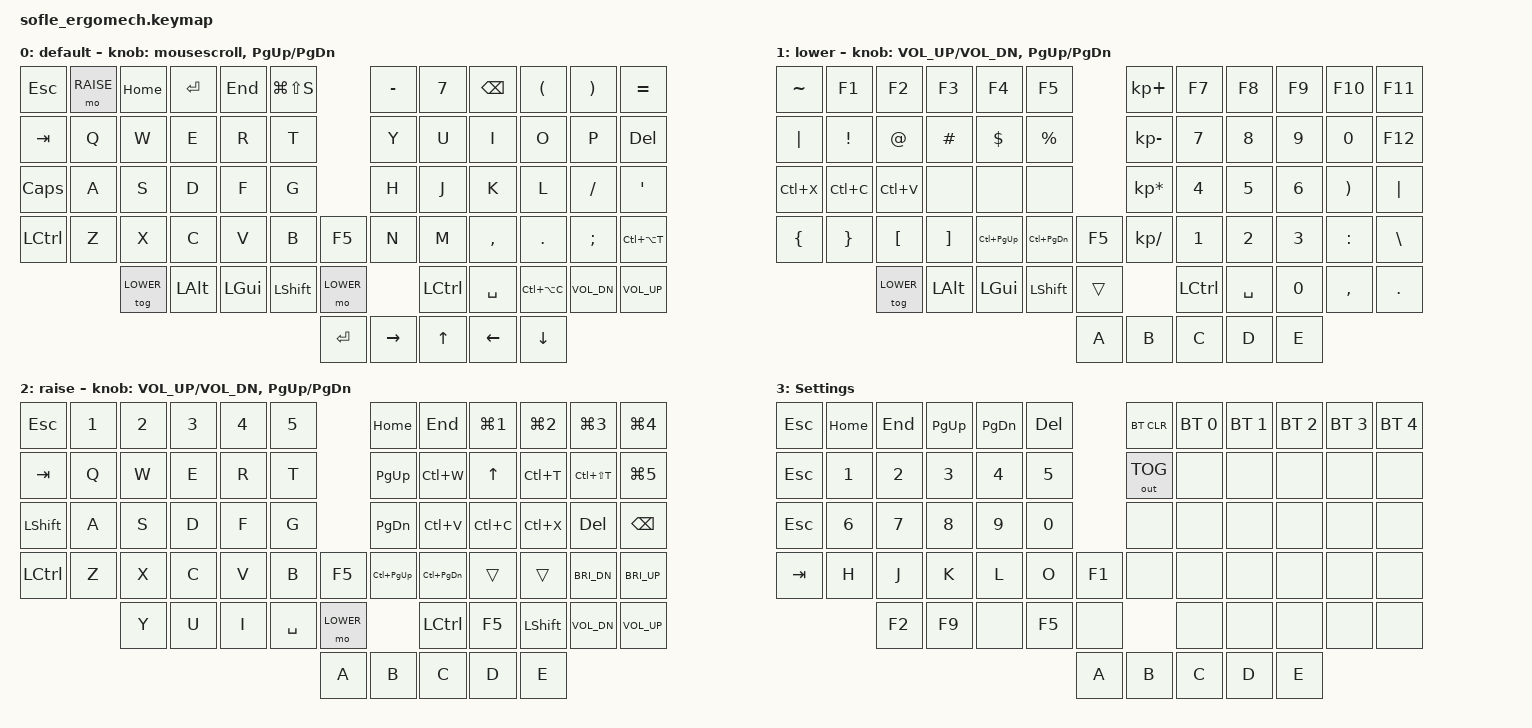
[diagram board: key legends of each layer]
/*
 * Copyright (c) 2020 The ZMK Contributors
 *
 * SPDX-License-Identifier: MIT
 */
#define ZMK_POINTING_DEFAULT_SCRL_VAL 300
#include <dt-bindings/zmk/pointing.h>
#include <behaviors.dtsi>
#include <dt-bindings/zmk/bt.h>
#include <dt-bindings/zmk/ext_power.h>
#include <dt-bindings/zmk/keys.h>
#include <dt-bindings/zmk/rgb.h>

#define BASE 0
#define LOWER 1
#define RAISE 2
#define ADJUST 3

/ {
    // Activate ADJUST layer by pressing raise and lower

    conditional_layers {
        compatible = "zmk,conditional-layers";

        adjust_layer {
            if-layers = <LOWER RAISE>;
            then-layer = <ADJUST>;
        };
    };	
	
	behaviors {
        mousescroll: mousescroll {
            compatible = "zmk,behavior-sensor-rotate";
            #sensor-binding-cells = <0>;
            bindings = <&msc SCRL_UP>, <&msc SCRL_DOWN>;
			tap-ms = <20>;
        };
    };

    keymap {
        compatible = "zmk,keymap";

        default_layer {
            label = "default";

            // ------------------------------------------------------------------------------------------------------------
            // |   `   |  1  |  2  |  3   |  4   |  5   |                   |  6   |  7    |  8    |  9   |   0   |       |
            // |  ESC  |  Q  |  W  |  E   |  R   |  T   |                   |  Y   |  U    |  I    |  O   |   P   | BKSPC |
            // |  TAB  |  A  |  S  |  D   |  F   |  G   |                   |  H   |  J    |  K    |  L   |   ;   |   '   |
            // | SHIFT |  Z  |  X  |  C   |  V   |  B   |  MUTE  |  |       |  N   |  M    |  ,    |  .   |   /   | SHIFT |
            //               | GUI | ALT  | CTRL | LOWER|  ENTER |  | SPACE | RAISE| CTRL  | ALT   | GUI  |

            bindings = <
&kp ESC   &mo RAISE &kp HOME &kp RET  &kp END   &kp LG(LS(S))               &kp MINUS &kp N7    &kp BSPC  &kp LPAR &kp RPAR   &kp EQUAL
&kp TAB   &kp Q     &kp W    &kp E    &kp R     &kp T                       &kp Y     &kp U     &kp I     &kp O    &kp P      &kp DEL
&kp CAPS  &kp A     &kp S    &kp D    &kp F     &kp G                       &kp H     &kp J     &kp K     &kp L    &kp FSLH   &kp SQT
&kp LCTRL &kp Z     &kp X    &kp C    &kp V     &kp B      &kp F5           &kp N     &kp M     &kp COMMA &kp DOT  &kp SEMI   &kp LC(LA(T))
                 &tog LOWER &kp LALT &kp LGUI &kp LSHIFT  &mo LOWER    &kp LCTRL  &kp SPACE  &kp LC(LA(C)) &kp K_VOL_DN  &kp K_VOL_UP
                                                               &kp ENTER  &kp RIGHT  &kp UP  &kp LEFT  &kp DOWN
            >;

            sensor-bindings = <&mousescroll &inc_dec_kp PG_UP PG_DN>;
        };

        lower_layer {
            label = "lower";

            // TODO: Some binds are waiting for shifted keycode support.
            // ------------------------------------------------------------------------------------------------------------
            // |       |  F1 |  F2 |  F3  |  F4  |  F5  |                   |  F6  |  F7   |  F8   |  F9  |  F10  |  F11  |
            // |   `   |  1  |  2  |  3   |  4   |  5   |                   |  6   |  7    |  8    |  9   |   0   |  F12  |
            // |       |  !  |  @  |  #   |  $   |  %   |                   |  ^   |  &    |  *    |  (   |   )   |   |   |
            // |       |  =  |  -  |  +   |  {   |  }   |        |  |       |  [   |  ]    |  ;    |  :   |   \   |       |
            //               |     |      |      |      |        |  |       |      |       |       |      |

            bindings = <
&kp TILDE  &kp F1    &kp F2    &kp F3    &kp F4         &kp F5                       &kp KP_PLUS     &kp F7   &kp F8  &kp F9  &kp F10   &kp F11
&kp PIPE   &kp EXCL  &kp AT    &kp HASH  &kp DLLR       &kp PRCNT                    &kp KP_MINUS    &kp N7   &kp N8  &kp N9  &kp N0    &kp F12
&kp LC(X)  &kp LC(C) &kp LC(V) &none  &none       &none                     &kp KP_MULTIPLY &kp N4   &kp N5  &kp N6  &kp RPAR  &kp PIPE
&kp LBRC   &kp RBRC  &kp LBKT  &kp RBKT  &kp LC(PG_UP)  &kp LC(PG_DN) &kp F5         &kp KP_DIVIDE   &kp N1   &kp N2  &kp N3  &kp COLON &kp BSLH
         &tog LOWER     &kp LALT   &kp LGUI    &kp LSHIFT     &trans                  &kp LCTRL  &kp SPACE       &kp N0   &kp COMMA    &kp DOT
                                                                &kp A      &kp B     &kp C      &kp D      &kp E
            >;

            sensor-bindings = <&inc_dec_kp C_VOL_UP C_VOL_DN &inc_dec_kp PG_UP PG_DN>;
        };

        raise_layer {
            label = "raise";

            // ------------------------------------------------------------------------------------------------------------
            // | BTCLR | BT1  | BT2  |  BT3  |  BT4  |  BT5 |                |      |      |       |      |       |       |
            // |       | INS  | PSCR | GUI   |       |      |                | PGUP |      |   ^   |      |       |       |
            // |       | ALT  | CTRL | SHIFT |       | CAPS |                | PGDN |   <- |   v   |  ->  |  DEL  | BKSPC |
            // |       | UNDO | CUT  | COPY  | PASTE |      |      |  |      |      |      |       |      |       |       |
            //                |      |       |       |      |      |  |      |      |      |       |      |

            bindings = <
&kp ESC     &kp N1       &kp N2     &kp N3    &kp N4   &kp N5                  &kp HOME      &kp END     &kp LG(N1)  &kp LG(N2)   &kp LG(N3)     &kp LG(N4)
&kp TAB     &kp Q        &kp W      &kp E     &kp R    &kp T                   &kp PG_UP     &kp LC(W)   &kp UP      &kp LC(T)    &kp LC(LS(T))  &kp LG(N5)
&kp LSHIFT  &kp A        &kp S      &kp D     &kp F    &kp G                   &kp PG_DN     &kp LC(V)    &kp LC(C)  &kp LC(X)    &kp DEL        &kp BSPC
&kp LCTRL   &kp Z        &kp X      &kp C     &kp V    &kp B      &kp F5       &kp LC(PG_UP) &kp LC(PG_DN) &trans    &trans       &kp C_BRI_DN   &kp C_BRI_UP
         &kp Y       &kp U       &kp I       &kp SPACE        &mo LOWER        &kp LCTRL  &kp F5    &kp LSHIFT    &kp K_VOL_DN  &kp K_VOL_UP
                                                                                  &kp A      &kp B     &kp C     &kp D      &kp E
            >;

            sensor-bindings = <&inc_dec_kp C_VOL_UP C_VOL_DN &inc_dec_kp PG_UP PG_DN>;
        };

        adjust_layer {
            // ----------------------------------------------------------------------------------------------------------------------------
            // | BTCLR  |  BT1    |  BT2    |   BT3   |   BT4   |   BT5   |                  |      |      |       |      |       |       |
            // | EXTPWR | RGB_HUD | RGB_HUI | RGB_SAD | RGB_SAI | RGB_EFF |                  |      |      |       |      |       |       |
            // |        | RGB_BRD | RGB_BRI |         |         |         |                  |      |      |       |      |       |       |
            // |        |         |         |         |         |         | RGB_TOG | |      |      |      |       |      |       |       |
            //                    |         |         |         |         |         | |      |      |      |       |      |

            label = "adjust";
            label = "Settings";
            bindings = <
&kp ESC     &kp HOME     &kp END    &kp PG_UP  &kp PG_DN &kp DEL                         &bt BT_CLR &bt BT_SEL 0 &bt BT_SEL 1 &bt BT_SEL 2 &bt BT_SEL 3 &bt BT_SEL 4
&kp ESC     &kp N1       &kp N2     &kp N3     &kp N4    &kp N5                         &out OUT_TOG &none &none &none &none &none
&kp ESC     &kp N6       &kp N7     &kp N8     &kp N9    &kp N0                         &none &none &none &none &none &none
&kp TAB     &kp H        &kp J      &kp K      &kp L     &kp O     &kp F1                &none &none &none &none &none &none
            &kp F2        &kp F9      &none     &kp F5    &none                          &none  &none &none &none &none
                                                                                                        &kp A  &kp B  &kp C  &kp D  &kp E
            >;
        };
    };
};
